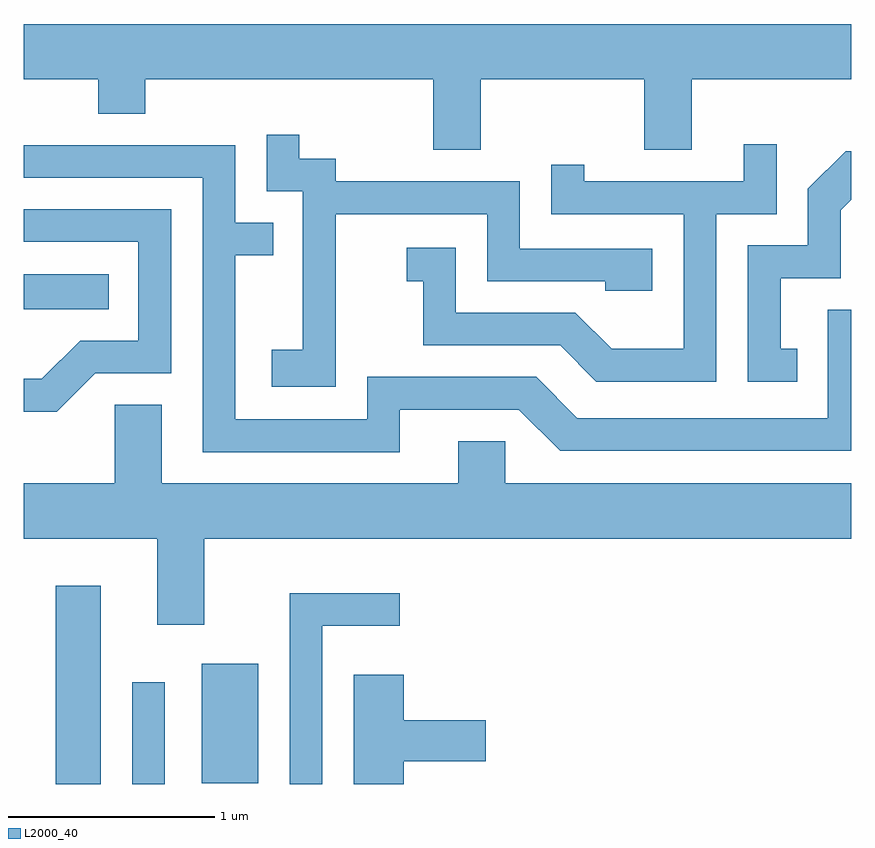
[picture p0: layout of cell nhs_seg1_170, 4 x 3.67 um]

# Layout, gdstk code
import gdstk
lib = gdstk.Library(unit=1e-6, precision=1e-09)
def R(c, l, rs):  # rectangles x0, y0, x1, y1
    for r in rs: c.add(gdstk.rectangle(r[:2], r[2:], *l))
def P(c, l, *ps):  # polygons
    for p in ps: c.add(gdstk.Polygon(p, *l))
L2000_40 = (2000, 40)

nhs_seg1_170 = lib.new_cell('nhs_seg1_170')
R(nhs_seg1_170, L2000_40, [(189.766,911.712,189.984,912.669), (190.136,911.712,190.294,912.203), (190.471,911.716,190.744,912.294), (189.611,914.006,190.023,914.174)])
P(nhs_seg1_170, L2000_40, [(191.819,915.116),(192.611,915.116),(192.611,914.776),(192.839,914.776),(192.839,915.116),(193.611,915.116),(193.611,915.384),(189.611,915.384),(189.611,915.116),(189.971,915.116),(189.971,914.951),(190.199,914.951),(190.199,915.116),(191.591,915.116),(191.591,914.776),(191.819,914.776)],
  [(191.119,914.466),(191.851,914.466),(191.851,914.141),(192.421,914.141),(192.421,914.096),(192.649,914.096),(192.649,914.299),(192.009,914.299),(192.009,914.624),(191.119,914.624),(191.119,914.734),(190.944,914.734),(190.944,914.848),(190.786,914.848),(190.786,914.576),(190.961,914.576),(190.961,913.809),(190.811,913.809),(190.811,913.631),(191.119,913.631)],
  [(192.959,914.466),(193.249,914.466),(193.249,914.803),(193.091,914.803),(193.091,914.624),(192.319,914.624),(192.319,914.703),(192.161,914.703),(192.161,914.466),(192.801,914.466),(192.801,913.814),(192.452,913.814),(192.277,913.989),(191.699,913.989),(191.699,914.304),(191.463,914.304),(191.463,914.141),(191.541,914.141),(191.541,913.831),(192.204,913.831),(192.379,913.656),(192.959,913.656)],
  [(191.429,913.521),(192.004,913.521),(192.204,913.321),(193.611,913.321),(193.611,914.004),(193.496,914.004),(193.496,913.479),(192.287,913.479),(192.087,913.679),(191.271,913.679),(191.271,913.474),(190.634,913.474),(190.634,914.266),(190.818,914.266),(190.818,914.424),(190.634,914.424),(190.634,914.799),(189.611,914.799),(189.611,914.641),(190.476,914.641),(190.476,913.316),(191.429,913.316)],
  [(193.348,913.814),(193.269,913.814),(193.269,914.156),(193.559,914.156),(193.559,914.484),(193.611,914.536),(193.611,914.769),(193.584,914.769),(193.401,914.587),(193.401,914.314),(193.111,914.314),(193.111,913.656),(193.348,913.656)],
  [(189.957,913.696),(190.324,913.696),(190.324,914.489),(189.611,914.489),(189.611,914.331),(190.166,914.331),(190.166,913.854),(189.884,913.854),(189.699,913.669),(189.611,913.669),(189.611,913.511),(189.772,913.511)],
  [(190.484,912.896),(193.611,912.896),(193.611,913.164),(191.939,913.164),(191.939,913.369),(191.711,913.369),(191.711,913.164),(190.279,913.164),(190.279,913.544),(190.051,913.544),(190.051,913.164),(189.611,913.164),(189.611,912.896),(190.256,912.896),(190.256,912.481),(190.484,912.481)],
  [(191.054,912.476),(191.428,912.476),(191.428,912.634),(190.896,912.634),(190.896,911.712),(191.054,911.712)],
  [(191.449,911.821),(191.844,911.821),(191.844,912.019),(191.449,912.019),(191.449,912.239),(191.206,912.239),(191.206,911.712),(191.449,911.712)])

lib.write_gds('nhs_seg1_170.gds')
